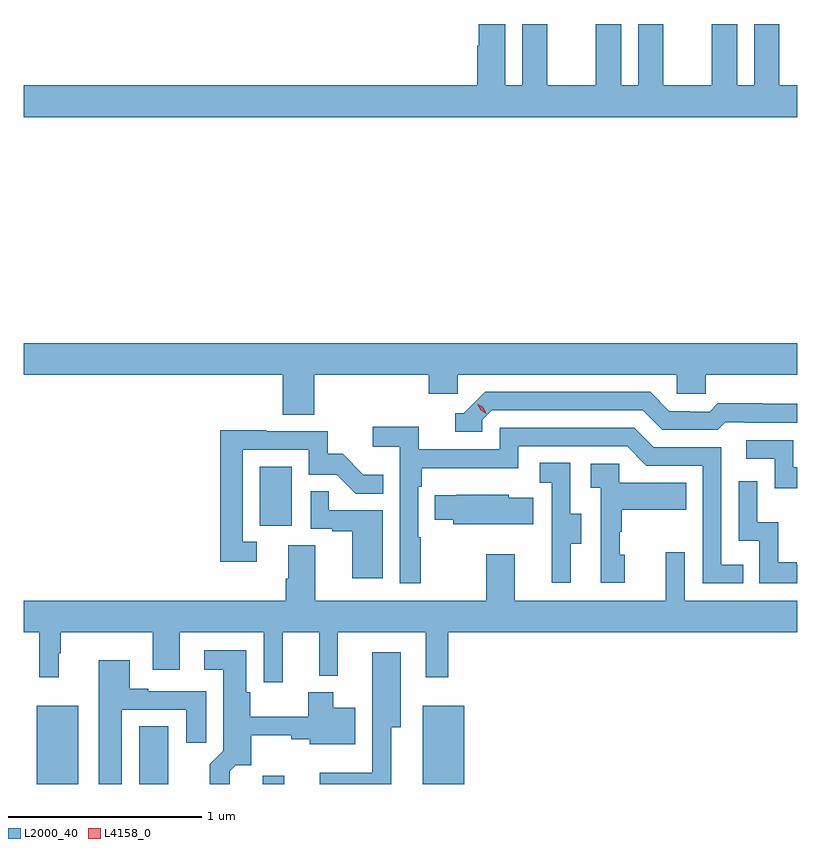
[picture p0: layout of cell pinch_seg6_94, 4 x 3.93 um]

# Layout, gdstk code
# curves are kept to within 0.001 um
import gdstk
lib = gdstk.Library(unit=1e-6, precision=1e-09)
def R(c, l, rs):  # rectangles x0, y0, x1, y1
    for r in rs: c.add(gdstk.rectangle(r[:2], r[2:], *l))
def P(c, l, *ps):  # polygons
    for p in ps: c.add(gdstk.Polygon(p, *l))
L2000_40 = (2000, 40)
L4158_0 = (4158, 0)

pinch_seg6_94 = lib.new_cell('pinch_seg6_94')
R(pinch_seg6_94, L2000_40, [(933.173,917.247,933.388,917.653), (933.704,917.247,933.853,917.546), (934.343,917.247,934.453,917.29), (935.171,917.247,935.386,917.653), (934.328,918.582,934.492,918.889)])
P(pinch_seg6_94, L2000_40, [(937.107,920.86),(937.015,920.86),(937.015,921.178),(936.884,921.178),(936.884,920.86),(936.796,920.86),(936.796,921.178),(936.665,921.178),(936.665,920.86),(936.415,920.86),(936.415,921.178),(936.284,921.178),(936.284,920.86),(936.196,920.86),(936.196,921.178),(936.065,921.178),(936.065,920.86),(935.815,920.86),(935.815,921.178),(935.684,921.178),(935.684,920.86),(935.596,920.86),(935.596,921.178),(935.459,921.178),(935.459,921.065),(935.453,921.065),(935.453,920.86),(933.107,920.86),(933.107,920.696),(937.107,920.696)],
  [(934.61,919.364),(935.201,919.364),(935.201,919.266),(935.352,919.266),(935.352,919.364),(936.483,919.364),(936.483,919.266),(936.633,919.266),(936.633,919.364),(937.107,919.364),(937.107,919.528),(933.107,919.528),(933.107,919.364),(934.445,919.364),(934.445,919.156),(934.61,919.156)],
  [(935.478,919.131),(935.526,919.179),(936.309,919.179),(936.408,919.08),(936.697,919.08),(936.736,919.119),(936.835,919.119),(936.835,919.116),(937.107,919.116),(937.107,919.213),(936.93,919.213),(936.93,919.216),(936.697,919.216),(936.655,919.173),(936.552,919.173),(936.552,919.176),(936.445,919.176),(936.346,919.275),(935.493,919.275),(935.382,919.164),(935.339,919.164),(935.339,919.068),(935.478,919.068)],
  [(935.161,918.524),(935.148,918.524),(935.148,918.785),(935.165,918.785),(935.165,918.881),(935.664,918.881),(935.664,918.993),(936.228,918.993),(936.327,918.894),(936.618,918.894),(936.618,918.285),(936.827,918.285),(936.827,918.381),(936.714,918.381),(936.714,918.99),(936.364,918.99),(936.265,919.089),(935.568,919.089),(935.568,918.978),(935.15,918.978),(935.15,919.094),(934.911,919.094),(934.911,918.992),(935.052,918.992),(935.052,918.285),(935.161,918.285)],
  [(934.312,918.501),(934.239,918.501),(934.239,918.975),(934.581,918.975),(934.581,918.846),(934.725,918.846),(934.823,918.748),(934.967,918.748),(934.967,918.847),(934.863,918.847),(934.756,918.954),(934.68,918.954),(934.68,919.071),(934.361,919.071),(934.361,919.076),(934.123,919.076),(934.123,918.396),(934.312,918.396)],
  [(937.107,918.885),(937.086,918.885),(937.086,919.026),(936.843,919.026),(936.843,918.93),(936.99,918.93),(936.99,918.777),(937.107,918.777)],
  [(935.935,918.49),(935.989,918.49),(935.989,918.645),(935.934,918.645),(935.934,918.908),(935.775,918.908),(935.775,918.805),(935.838,918.805),(935.838,918.501),(935.837,918.501),(935.837,918.288),(935.935,918.288)],
  [(936.214,918.432),(936.189,918.432),(936.189,918.551),(936.199,918.551),(936.199,918.665),(936.533,918.665),(936.533,918.805),(936.186,918.805),(936.186,918.903),(936.039,918.903),(936.039,918.779),(936.09,918.779),(936.09,918.288),(936.214,918.288)],
  [(937.107,918.381),(937.105,918.381),(937.105,918.394),(937.01,918.394),(937.01,918.602),(936.9,918.602),(936.9,918.814),(936.804,918.814),(936.804,918.504),(936.912,918.504),(936.912,918.285),(937.107,918.285)],
  [(934.963,918.663),(934.685,918.663),(934.685,918.761),(934.59,918.761),(934.59,918.567),(934.701,918.567),(934.701,918.555),(934.805,918.555),(934.805,918.312),(934.963,918.312)],
  [(935.741,918.727),(935.616,918.727),(935.616,918.742),(935.344,918.742),(935.344,918.741),(935.233,918.741),(935.233,918.613),(935.327,918.613),(935.327,918.59),(935.741,918.59)],
  [(933.107,918.032),(933.188,918.032),(933.188,917.799),(933.287,917.799),(933.287,917.924),(933.298,917.924),(933.298,918.032),(933.773,918.032),(933.773,917.838),(933.913,917.838),(933.913,918.032),(934.347,918.032),(934.347,917.772),(934.445,917.772),(934.445,918.032),(934.634,918.032),(934.634,917.807),(934.732,917.807),(934.732,918.032),(935.186,918.032),(935.186,917.799),(935.303,917.799),(935.303,918.032),(937.107,918.032),(937.107,918.196),(936.525,918.196),(936.525,918.445),(936.428,918.445),(936.428,918.196),(935.647,918.196),(935.647,918.436),(935.5,918.436),(935.5,918.196),(934.615,918.196),(934.615,918.482),(934.475,918.482),(934.475,918.308),(934.463,918.308),(934.463,918.196),(933.107,918.196)],
  [(934.171,917.312),(934.203,917.345),(934.283,917.345),(934.284,917.498),(934.49,917.498),(934.49,917.479),(934.586,917.479),(934.586,917.453),(934.822,917.453),(934.822,917.641),(934.708,917.641),(934.708,917.722),(934.579,917.722),(934.579,917.596),(934.278,917.596),(934.278,917.721),(934.258,917.721),(934.258,917.938),(934.041,917.938),(934.041,917.837),(934.139,917.837),(934.139,917.42),(934.069,917.35),(934.069,917.247),(934.171,917.247)],
  [(935.008,917.54),(935.056,917.54),(935.056,917.929),(934.91,917.929),(934.91,917.305),(934.638,917.305),(934.638,917.247),(935.008,917.247)],
  [(933.613,917.631),(933.947,917.631),(933.947,917.46),(934.051,917.46),(934.051,917.727),(933.751,917.727),(933.751,917.74),(933.655,917.74),(933.655,917.887),(933.494,917.887),(933.494,917.247),(933.613,917.247)])
P(pinch_seg6_94, L4158_0, [(935.499,919.163),(935.469,919.182),(935.452,919.215),(935.452,919.215),(935.453,919.215),(935.484,919.196),(935.5,919.163),(935.5,919.163)])

lib.write_gds('pinch_seg6_94.gds')
